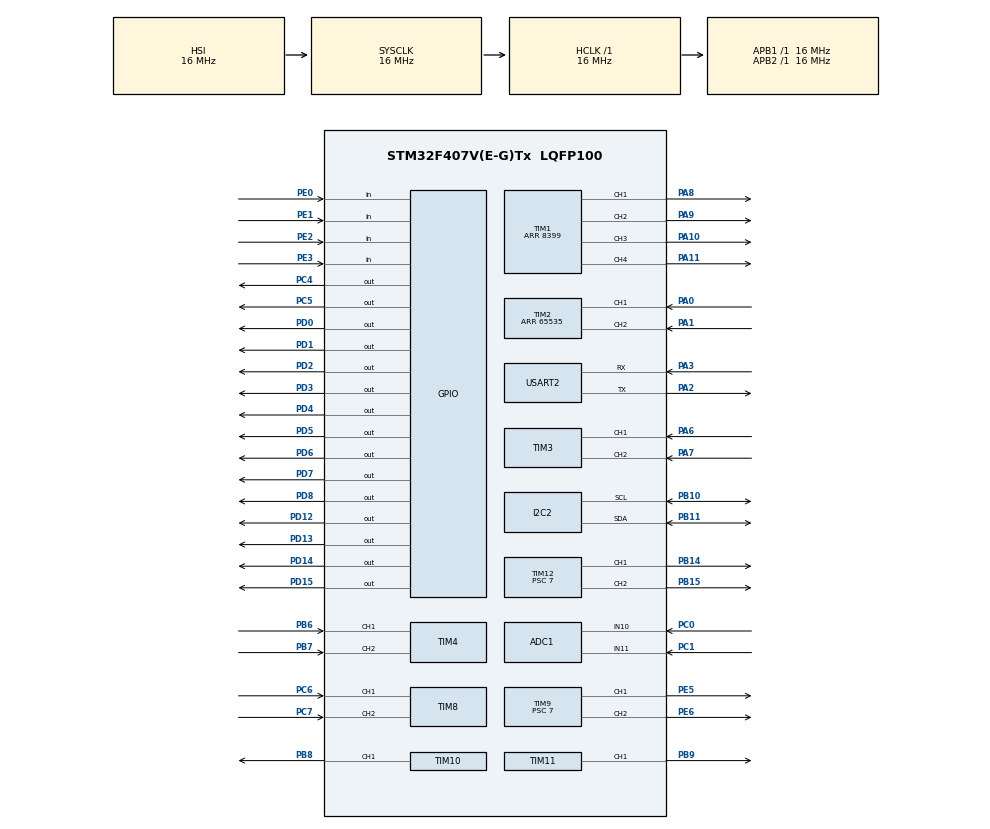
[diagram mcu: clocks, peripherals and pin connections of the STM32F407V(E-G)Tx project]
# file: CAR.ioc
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ADC1.Channel-0\#ChannelRegularConversion=ADC_CHANNEL_10
ADC1.NbrOfConversionFlag=1
ADC1.Rank-0\#ChannelRegularConversion=1
ADC1.SamplingTime-0\#ChannelRegularConversion=ADC_SAMPLETIME_3CYCLES
ADC1.master=1
Mcu.Family=STM32F4
Mcu.Name=STM32F407V(E-G)Tx
Mcu.Package=LQFP100
NVIC.PriorityGroup=NVIC_PRIORITYGROUP_4
NVIC.USART2_IRQn=true\:0\:0\:false\:false\:true\:true\:true\:true
PA0-WKUP.Signal=S_TIM2_CH1_ETR
PA1.Signal=S_TIM2_CH2
PA10.Signal=S_TIM1_CH3
PA11.Signal=S_TIM1_CH4
PA13.Mode=Serial_Wire
PA13.Signal=SYS_JTMS-SWDIO
PA14.Mode=Serial_Wire
PA14.Signal=SYS_JTCK-SWCLK
PA2.Mode=Asynchronous
PA2.Signal=USART2_TX
PA3.Mode=Asynchronous
PA3.Signal=USART2_RX
PA6.Signal=S_TIM3_CH1
PA7.Signal=S_TIM3_CH2
PA8.Signal=S_TIM1_CH1
PA9.Signal=S_TIM1_CH2
PB10.GPIO_Pu=GPIO_PULLUP
PB10.Mode=I2C
PB10.Signal=I2C2_SCL
PB11.GPIO_Pu=GPIO_PULLUP
PB11.Mode=I2C
PB11.Signal=I2C2_SDA
PB14.Signal=S_TIM12_CH1
PB15.Signal=S_TIM12_CH2
PB6.Signal=S_TIM4_CH1
PB7.Signal=S_TIM4_CH2
PB8.Signal=S_TIM10_CH1
PB9.Signal=S_TIM11_CH1
PC0.Signal=ADCx_IN10
PC1.Signal=ADCx_IN11
PC4.PinState=GPIO_PIN_SET
PC4.Signal=GPIO_Output
PC5.PinState=GPIO_PIN_SET
PC5.Signal=GPIO_Output
PC6.Signal=S_TIM8_CH1
PC7.Signal=S_TIM8_CH2
PD0.GPIO_ModeDefaultOutputPP=GPIO_MODE_OUTPUT_PP
PD0.Signal=GPIO_Output
PD1.Signal=GPIO_Output
PD12.Signal=GPIO_Output
PD13.Signal=GPIO_Output
PD14.Signal=GPIO_Output
PD15.Signal=GPIO_Output
PD2.Signal=GPIO_Output
PD3.Signal=GPIO_Output
PD4.Signal=GPIO_Output
PD5.Signal=GPIO_Output
PD6.Signal=GPIO_Output
PD7.Signal=GPIO_Output
PD8.GPIO_PuPd=GPIO_PULLUP
PD8.Signal=GPIO_Output
PE0.GPIO_PuPd=GPIO_PULLUP
PE0.Signal=GPIO_Input
PE1.GPIO_Mode=GPIO_MODE_INPUT
PE1.GPIO_PuPd=GPIO_PULLUP
PE1.Signal=GPIO_Input
PE2.GPIO_PuPd=GPIO_PULLUP
PE2.Signal=GPIO_Input
PE3.GPIO_PuPd=GPIO_PULLUP
PE3.Signal=GPIO_Input
PE5.Signal=S_TIM9_CH1
PE6.Signal=S_TIM9_CH2
PH0-OSC_IN.Mode=HSE-External-Oscillator
PH0-OSC_IN.Signal=RCC_OSC_IN
PH1-OSC_OUT.Mode=HSE-External-Oscillator
PH1-OSC_OUT.Signal=RCC_OSC_OUT
ProjectManager.HeapSize=0x200
ProjectManager.StackSize=0x400
ProjectManager.TargetToolchain=MDK-ARM V5.32
RCC.48MHZClocksFreq_Value=151200000
RCC.AHBFreq_Value=16000000
RCC.APB1Freq_Value=16000000
RCC.APB2Freq_Value=16000000
RCC.CortexFreq_Value=16000000
RCC.HSE_VALUE=25200000
RCC.HSI_VALUE=16000000
RCC.LSE_VALUE=32768
RCC.PLLM=8
RCC.PLLSourceVirtual=RCC_PLLSOURCE_HSE
RCC.SYSCLKFreq_VALUE=16000000
RCC.VCOOutputFreq_Value=604800000
SH.ADCx_IN10.0=ADC1_IN10,IN10
SH.ADCx_IN11.0=ADC1_IN11,IN11
SH.S_TIM10_CH1.0=TIM10_CH1,PWM Generation1 CH1
SH.S_TIM11_CH1.0=TIM11_CH1,PWM Generation1 CH1
SH.S_TIM12_CH1.0=TIM12_CH1,PWM Generation1 CH1
SH.S_TIM12_CH2.0=TIM12_CH2,PWM Generation2 CH2
SH.S_TIM1_CH1.0=TIM1_CH1,PWM Generation1 CH1
SH.S_TIM1_CH2.0=TIM1_CH2,PWM Generation2 CH2
SH.S_TIM1_CH3.0=TIM1_CH3,PWM Generation3 CH3
SH.S_TIM1_CH4.0=TIM1_CH4,PWM Generation4 CH4
SH.S_TIM2_CH1_ETR.0=TIM2_CH1,Encoder_Interface
SH.S_TIM2_CH2.0=TIM2_CH2,Encoder_Interface
SH.S_TIM3_CH1.0=TIM3_CH1,Encoder_Interface
SH.S_TIM3_CH2.0=TIM3_CH2,Encoder_Interface
SH.S_TIM4_CH1.0=TIM4_CH1,Encoder_Interface
SH.S_TIM4_CH2.0=TIM4_CH2,Encoder_Interface
SH.S_TIM8_CH1.0=TIM8_CH1,Encoder_Interface
SH.S_TIM8_CH2.0=TIM8_CH2,Encoder_Interface
SH.S_TIM9_CH1.0=TIM9_CH1,PWM Generation1 CH1
SH.S_TIM9_CH2.0=TIM9_CH2,PWM Generation2 CH2
TIM1.Channel-PWM\ Generation1\ CH1=TIM_CHANNEL_1
TIM1.Channel-PWM\ Generation2\ CH2=TIM_CHANNEL_2
TIM1.Channel-PWM\ Generation3\ CH3=TIM_CHANNEL_3
TIM1.Channel-PWM\ Generation4\ CH4=TIM_CHANNEL_4
TIM1.Period=8399
TIM10.Channel=TIM_CHANNEL_1
TIM10.Period=19999
TIM10.Prescaler=7
TIM10.Pulse=500
TIM11.Channel=TIM_CHANNEL_1
TIM11.Period=19999
TIM11.Prescaler=167
TIM11.Pulse=1500
TIM12.Channel-PWM\ Generation1\ CH1=TIM_CHANNEL_1
TIM12.Channel-PWM\ Generation2\ CH2=TIM_CHANNEL_2
TIM12.Period=19999
TIM12.Prescaler=7
TIM12.Pulse-PWM\ Generation1\ CH1=500
TIM12.Pulse-PWM\ Generation2\ CH2=500
TIM2.IC1Filter=6
TIM2.IC2Filter=6
TIM2.Period=65535
TIM3.IC1Filter=6
TIM3.IC2Filter=6
TIM4.IC1Filter=6
TIM4.IC2Filter=6
TIM8.IC1Filter=6
TIM8.IC2Filter=6
TIM9.Channel-PWM\ Generation1\ CH1=TIM_CHANNEL_1
TIM9.Channel-PWM\ Generation2\ CH2=TIM_CHANNEL_2
TIM9.Period=19999
TIM9.Prescaler=7
TIM9.Pulse-PWM\ Generation1\ CH1=1500
TIM9.Pulse-PWM\ Generation2\ CH2=1500
USART2.VirtualMode=VM_ASYNC
VP_TIM10_VS_ClockSourceINT.Mode=Enable_Timer
VP_TIM11_VS_ClockSourceINT.Mode=Enable_Timer
board=custom

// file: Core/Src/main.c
/* USER CODE BEGIN Header */
/**
  ******************************************************************************
  * @file           : main.c
  * @brief          : Main program body - Car/Pump/PCA9685 Servo + TIM12 Gimbal Servo Version
  ******************************************************************************
  */
/* USER CODE END Header */
#include "main.h"
#include "adc.h"
#include "i2c.h"
#include "tim.h"
#include "usart.h"
#include "gpio.h"

/* USER CODE BEGIN Includes */
#include <stdio.h>
#include <string.h>
#include <stdbool.h>
/* USER CODE END Includes */

/* USER CODE BEGIN PTD */

typedef struct
{
    int16_t pwm_cmd;          // 当前输出PWM命令（-8399~8399）
    int16_t enc_delta_10ms;   // 10ms编码器增量
    int32_t enc_total;        // 累计编码器计数
} MotorState_t;

/* USER CODE END PTD */

/* USER CODE BEGIN PD */

/* -------------------- 硬件参数 -------------------- */
#define MOTOR_PWM_MAX              8399

/* 普通前进/后退速度：原来 MOTOR_TEST_PWM=1500，对重车偏小 */
#define MOTOR_MOVE_PWM             1500

/* 转弯持续速度：车重转不动就优先调大这个值 */
#define MOTOR_TURN_PWM             3500

/* 转弯起步冲击速度：先大力冲一下，克服静摩擦 */
#define MOTOR_TURN_START_PWM       3500

/* 转弯起步冲击时间，单位 ms */
#define MOTOR_TURN_START_TIME_MS   0

/*
    舵机脉宽范围：
    500us  -> 约0°
    1500us -> 约90°
    2500us -> 约180°

    如果舵机有异响、顶死、发热，可以改成：
    SERVO_MIN_US = 700
    SERVO_MAX_US = 2300
*/
#define SERVO_MIN_US               500
#define SERVO_MID_US               1500
#define SERVO_MAX_US               2700

/* -------------------- 调试选项 -------------------- */
#define DEBUG_PRINT_ENABLE         0

/* -------------------- PCA9685 参数 -------------------- */
#define PCA9685_ADDR               (0x40 << 1)   // HAL库使用8位地址，所以0x40左移1位
#define PCA9685_MODE1              0x00
#define PCA9685_MODE2              0x01
#define PCA9685_LED0_ON_L          0x06
#define PCA9685_PRESCALE           0xFE

#define PCA9685_SERVO_FREQ         50            // 舵机PWM频率50Hz

#define PCA9685_CH_BOTTOM          0             // CH0 -> 最底下舵机
#define PCA9685_CH_MIDDLE          1             // CH1 -> 中间舵机
#define PCA9685_CH_TOP             2             // CH2 -> 最上面舵机

/* -------------------- 引脚映射 -------------------- */
/* 电机方向控制 */
#define M1_IN1_GPIO_Port           GPIOD
#define M1_IN1_Pin                 GPIO_PIN_0
#define M1_IN2_GPIO_Port           GPIOD
#define M1_IN2_Pin                 GPIO_PIN_1

#define M2_IN1_GPIO_Port           GPIOD
#define M2_IN1_Pin                 GPIO_PIN_2
#define M2_IN2_GPIO_Port           GPIOD
#define M2_IN2_Pin                 GPIO_PIN_3

#define M3_IN1_GPIO_Port           GPIOD
#define M3_IN1_Pin                 GPIO_PIN_4
#define M3_IN2_GPIO_Port           GPIOD
#define M3_IN2_Pin                 GPIO_PIN_5

#define M4_IN1_GPIO_Port           GPIOD
#define M4_IN1_Pin                 GPIO_PIN_6
#define M4_IN2_GPIO_Port           GPIOD
#define M4_IN2_Pin                 GPIO_PIN_7

#define MOTOR_EN_GPIO_Port         GPIOD
#define MOTOR_EN_Pin               GPIO_PIN_8

/* 两个水泵 */
#define PUMP1_GPIO_Port            GPIOC
#define PUMP1_Pin                  GPIO_PIN_4
#define PUMP2_GPIO_Port            GPIOC
#define PUMP2_Pin                  GPIO_PIN_5

/*
    你的继电器/驱动模块有 NO、NC、COM、VCC、GND、IN。
    多数这种模块是低电平触发：IN=0 吸合，IN=1 断开。
    如果你测试发现水泵逻辑反了，把对应的 1 改成 0。
*/
#define PUMP1_ACTIVE_LOW           0
#define PUMP2_ACTIVE_LOW           0

/* 状态灯/蜂鸣器 */
#define RUN_LED_GPIO_Port          GPIOD
#define RUN_LED_Pin                GPIO_PIN_12
#define FAULT_LED_GPIO_Port        GPIOD
#define FAULT_LED_Pin              GPIO_PIN_13
#define BEEP_GPIO_Port             GPIOD
#define BEEP_Pin                   GPIO_PIN_14
#define COMM_LED_GPIO_Port         GPIOD
#define COMM_LED_Pin               GPIO_PIN_15

/* 输入 */
#define ESTOP_GPIO_Port            GPIOE
#define ESTOP_Pin                  GPIO_PIN_0
#define LEVEL_GPIO_Port            GPIOE
#define LEVEL_Pin                  GPIO_PIN_1
#define LIMIT1_GPIO_Port           GPIOE
#define LIMIT1_Pin                 GPIO_PIN_2
#define LIMIT2_GPIO_Port           GPIOE
#define LIMIT2_Pin                 GPIO_PIN_3

/* 三个舵机编号：PCA9685 三路舵机，保持你原来的 L/R/Z 动作 */
#define SERVO_BOTTOM_ID            1
#define SERVO_MIDDLE_ID            2
#define SERVO_TOP_ID               3

/*
    新增：摄像头二自由度云台舵机
    PB14 -> TIM12_CH1 -> 云台水平 Yaw 舵机
    PB15 -> TIM12_CH2 -> 云台俯仰 Pitch 舵机

    注意：
    1. CubeMX 中 PB14 配 TIM12_CH1，PB15 配 TIM12_CH2。
    2. TIM12 要配置成 50Hz PWM，最好 1us 计数。
       如果当前系统时钟仍是 HSI 16MHz：
          Prescaler = 15
          Counter Period = 19999
          Pulse = 1500
       如果你的工程是 84MHz 定时器时钟：
          Prescaler = 83
          Counter Period = 19999
          Pulse = 1500
    3. 舵机外接 5V 供电，外部 5V GND 必须和 STM32 GND 共地。
*/
#define GIMBAL_YAW_LEFT_ANGLE      45
#define GIMBAL_YAW_CENTER_ANGLE    90
#define GIMBAL_YAW_RIGHT_ANGLE     135

#define GIMBAL_PITCH_UP_ANGLE      110
#define GIMBAL_PITCH_DEFAULT_ANGLE 80
#define GIMBAL_PITCH_DOWN_ANGLE    55

#define GIMBAL_MIN_US              500
#define GIMBAL_MAX_US              2500

/* USER CODE END PD */

/* USER CODE BEGIN PM */
#define CLAMP(x, low, high)   ((x) < (low) ? (low) : ((x) > (high) ? (high) : (x)))
/* USER CODE END PM */

/* USER CODE BEGIN PV */

static uint8_t uart2_rx_byte = 0;
static volatile uint8_t g_uart_cmd_pending = 0;

static char uart_tx_buf[360];

static MotorState_t g_motor[4];

static int16_t  enc_last_raw[4] = {0};

/*
    现在只使用 3 个舵机：
    g_servo_us[0] -> 最底下舵机，PCA9685_CH0
    g_servo_us[1] -> 中间舵机，  PCA9685_CH1
    g_servo_us[2] -> 最上面舵机，PCA9685_CH2
*/
static uint16_t g_servo_us[3] = {
    SERVO_MIN_US,
    SERVO_MIN_US,
    SERVO_MIN_US
};

/*
    新增云台舵机当前脉宽记录：
    g_gimbal_yaw_us   -> PB14 / TIM12_CH1
    g_gimbal_pitch_us -> PB15 / TIM12_CH2
*/
static uint16_t g_gimbal_yaw_us   = SERVO_MID_US;
static uint16_t g_gimbal_pitch_us = SERVO_MID_US;

static uint8_t  g_pump1_on      = 0;
static uint8_t  g_pump2_on      = 0;
static uint8_t  g_estop_latched = 0;
static uint8_t  g_fault_flag    = 0;

/* USER CODE END PV */

void SystemClock_Config(void);
/* USER CODE BEGIN PFP */

static void User_SetSafeState(void);
static void User_StartPeripherals(void);
static void User_Beep(uint16_t ms);

static void App_Init(void);
static void App_Loop(void);

static void User_SendText(const char *str);
static void User_SendHelp(void);
static void User_SendStatus(void);
static void User_HandleUartByte(uint8_t ch);

static void Motor_Enable(uint8_t en);
static void Motor_SetPWM(uint8_t motor_id, int16_t pwm);
static void Motor_StopAll(void);

static void Car_Forward(void);
static void Car_Backward(void);
static void Car_TurnLeft(void);
static void Car_TurnRight(void);

static void PCA9685_Write8(uint8_t reg, uint8_t data);
static uint8_t PCA9685_Read8(uint8_t reg);
static uint8_t PCA9685_IsReady(void);
static void PCA9685_SetPWMFreq(uint16_t freq_hz);
static void PCA9685_SetPWM(uint8_t channel, uint16_t on, uint16_t off);
static void PCA9685_SetServoUs(uint8_t channel, uint16_t pulse_us);
static void PCA9685_Init(void);

static uint16_t Servo_AngleToUs(uint8_t angle);
static void Servo_SetUs(uint8_t servo_id, uint16_t pulse_us);
static void Servo_SetAngle(uint8_t servo_id, uint8_t angle);
static void Servo_InitPose(void);
static void Servo_ActionLeft(void);
static void Servo_ActionRight(void);
static void Servo_Reset(void);

static uint16_t Gimbal_AngleToUs(uint8_t angle);
static void Gimbal_SetYawUs(uint16_t pulse_us);
static void Gimbal_SetPitchUs(uint16_t pulse_us);
static void Gimbal_SetYawAngle(uint8_t angle);
static void Gimbal_SetPitchAngle(uint8_t angle);
static void Gimbal_InitPose(void);
static void Gimbal_LookLeft(void);
static void Gimbal_LookRight(void);
static void Gimbal_LookCenter(void);
static void Gimbal_PitchUp(void);
static void Gimbal_PitchDown(void);
static void Gimbal_PitchDefault(void);

static void Pump_GPIO_Init(void);
static void Pump1_On(void);
static void Pump1_Off(void);
static void Pump2_On(void);
static void Pump2_Off(void);

static int16_t Encoder_ReadRaw16(TIM_HandleTypeDef *htim);
static int16_t Encoder_ReadDelta(TIM_HandleTypeDef *htim, int16_t *last_raw);
static void Encoder_Update10ms(void);

static void Safety_Check(void);

/* USER CODE END PFP */

/* USER CODE BEGIN 0 */

static void User_SendText(const char *str)
{
    HAL_UART_Transmit(&huart2, (uint8_t *)str, strlen(str), 100);
}

static void User_Beep(uint16_t ms)
{
    HAL_GPIO_WritePin(BEEP_GPIO_Port, BEEP_Pin, GPIO_PIN_SET);
    HAL_Delay(ms);
    HAL_GPIO_WritePin(BEEP_GPIO_Port, BEEP_Pin, GPIO_PIN_RESET);
}

static void User_SetSafeState(void)
{
    HAL_GPIO_WritePin(M1_IN1_GPIO_Port, M1_IN1_Pin, GPIO_PIN_RESET);
    HAL_GPIO_WritePin(M1_IN2_GPIO_Port, M1_IN2_Pin, GPIO_PIN_RESET);
    HAL_GPIO_WritePin(M2_IN1_GPIO_Port, M2_IN1_Pin, GPIO_PIN_RESET);
    HAL_GPIO_WritePin(M2_IN2_GPIO_Port, M2_IN2_Pin, GPIO_PIN_RESET);
    HAL_GPIO_WritePin(M3_IN1_GPIO_Port, M3_IN1_Pin, GPIO_PIN_RESET);
    HAL_GPIO_WritePin(M3_IN2_GPIO_Port, M3_IN2_Pin, GPIO_PIN_RESET);
    HAL_GPIO_WritePin(M4_IN1_GPIO_Port, M4_IN1_Pin, GPIO_PIN_RESET);
    HAL_GPIO_WritePin(M4_IN2_GPIO_Port, M4_IN2_Pin, GPIO_PIN_RESET);

    /* 两个水泵安全关闭：兼容低电平触发/高电平触发模块 */
#if PUMP1_ACTIVE_LOW
    HAL_GPIO_WritePin(PUMP1_GPIO_Port, PUMP1_Pin, GPIO_PIN_SET);
#else
    HAL_GPIO_WritePin(PUMP1_GPIO_Port, PUMP1_Pin, GPIO_PIN_RESET);
#endif

#if PUMP2_ACTIVE_LOW
    HAL_GPIO_WritePin(PUMP2_GPIO_Port, PUMP2_Pin, GPIO_PIN_SET);
#else
    HAL_GPIO_WritePin(PUMP2_GPIO_Port, PUMP2_Pin, GPIO_PIN_RESET);
#endif

    g_pump1_on = 0;
    g_pump2_on = 0;

    HAL_GPIO_WritePin(RUN_LED_GPIO_Port, RUN_LED_Pin, GPIO_PIN_RESET);
    HAL_GPIO_WritePin(FAULT_LED_GPIO_Port, FAULT_LED_Pin, GPIO_PIN_RESET);
    HAL_GPIO_WritePin(BEEP_GPIO_Port, BEEP_Pin, GPIO_PIN_RESET);
    HAL_GPIO_WritePin(COMM_LED_GPIO_Port, COMM_LED_Pin, GPIO_PIN_RESET);

    HAL_GPIO_WritePin(MOTOR_EN_GPIO_Port, MOTOR_EN_Pin, GPIO_PIN_RESET);

    __HAL_TIM_SET_COMPARE(&htim1, TIM_CHANNEL_1, 0);
    __HAL_TIM_SET_COMPARE(&htim1, TIM_CHANNEL_2, 0);
    __HAL_TIM_SET_COMPARE(&htim1, TIM_CHANNEL_3, 0);
    __HAL_TIM_SET_COMPARE(&htim1, TIM_CHANNEL_4, 0);

    /* 新增 TIM12 云台舵机先关闭输出，启动外设后再给默认角度 */
    __HAL_TIM_SET_COMPARE(&htim12, TIM_CHANNEL_1, 0);
    __HAL_TIM_SET_COMPARE(&htim12, TIM_CHANNEL_2, 0);
}

static void User_StartPeripherals(void)
{
    HAL_TIM_PWM_Start(&htim1, TIM_CHANNEL_1);
    HAL_TIM_PWM_Start(&htim1, TIM_CHANNEL_2);
    HAL_TIM_PWM_Start(&htim1, TIM_CHANNEL_3);
    HAL_TIM_PWM_Start(&htim1, TIM_CHANNEL_4);

    /*
        新增两个摄像头云台舵机：
        PB14 -> TIM12_CH1 -> Yaw 水平舵机
        PB15 -> TIM12_CH2 -> Pitch 俯仰舵机
    */
    HAL_TIM_PWM_Start(&htim12, TIM_CHANNEL_1);
    HAL_TIM_PWM_Start(&htim12, TIM_CHANNEL_2);

    /*
        现在原来的三个执行机构舵机使用 PCA9685 控制，
        TIM12 只负责新增的摄像头云台两个舵机。
    */

    HAL_TIM_Encoder_Start(&htim2, TIM_CHANNEL_ALL);
    HAL_TIM_Encoder_Start(&htim3, TIM_CHANNEL_ALL);
    HAL_TIM_Encoder_Start(&htim4, TIM_CHANNEL_ALL);
    HAL_TIM_Encoder_Start(&htim8, TIM_CHANNEL_ALL);

    __HAL_TIM_SET_COUNTER(&htim2, 0);
    __HAL_TIM_SET_COUNTER(&htim3, 0);
    __HAL_TIM_SET_COUNTER(&htim4, 0);
    __HAL_TIM_SET_COUNTER(&htim8, 0);

    enc_last_raw[0] = 0;
    enc_last_raw[1] = 0;
    enc_last_raw[2] = 0;
    enc_last_raw[3] = 0;

    /*
        初始化 PCA9685：
        STM32F407VET6 使用 I2C2：
        PB10 -> SCL
        PB11 -> SDA
    */
    PCA9685_Init();

    /*
        上电初始角度：
        1. 原来的三个 PCA9685 舵机复位
        2. 新增摄像头云台回中、默认俯仰
    */
    Servo_InitPose();
    Gimbal_InitPose();

    HAL_UART_Receive_IT(&huart2, &uart2_rx_byte, 1);

    Motor_Enable(1);
}

/* -------------------- PCA9685 驱动部分 -------------------- */

static void PCA9685_Write8(uint8_t reg, uint8_t data)
{
    HAL_I2C_Mem_Write(&hi2c2,
                      PCA9685_ADDR,
                      reg,
                      I2C_MEMADD_SIZE_8BIT,
                      &data,
                      1,
                      100);
}

static uint8_t PCA9685_Read8(uint8_t reg)
{
    uint8_t data = 0;

    HAL_I2C_Mem_Read(&hi2c2,
                     PCA9685_ADDR,
                     reg,
                     I2C_MEMADD_SIZE_8BIT,
                     &data,
                     1,
                     100);

    return data;
}

static uint8_t PCA9685_IsReady(void)
{
    if (HAL_I2C_IsDeviceReady(&hi2c2, PCA9685_ADDR, 3, 100) == HAL_OK)
    {
        return 1;
    }
    else
    {
        return 0;
    }
}

static void PCA9685_SetPWMFreq(uint16_t freq_hz)
{
    uint8_t oldmode;
    uint8_t newmode;
    uint8_t prescale;

    /*
        PCA9685内部时钟约25MHz。
        prescale = 25000000 / (4096 * freq) - 1
        50Hz时 prescale 约等于121。
    */
    prescale = (uint8_t)(25000000UL / (4096UL * freq_hz) - 1);

    oldmode = PCA9685_Read8(PCA9685_MODE1);
    newmode = (oldmode & 0x7F) | 0x10;       // sleep

    PCA9685_Write8(PCA9685_MODE1, newmode);
    PCA9685_Write8(PCA9685_PRESCALE, prescale);
    PCA9685_Write8(PCA9685_MODE1, oldmode);

    HAL_Delay(5);

    PCA9685_Write8(PCA9685_MODE1, oldmode | 0xA0);  // restart + auto increment
}

static void PCA9685_SetPWM(uint8_t channel, uint16_t on, uint16_t off)
{
    uint8_t data[4];

    if (channel > 15)
    {
        return;
    }

    data[0] = on & 0xFF;
    data[1] = on >> 8;
    data[2] = off & 0xFF;
    data[3] = off >> 8;

    HAL_I2C_Mem_Write(&hi2c2,
                      PCA9685_ADDR,
                      PCA9685_LED0_ON_L + 4 * channel,
                      I2C_MEMADD_SIZE_8BIT,
                      data,
                      4,
                      100);
}

static void PCA9685_SetServoUs(uint8_t channel, uint16_t pulse_us)
{
    uint16_t tick;

    pulse_us = (uint16_t)CLAMP(pulse_us, SERVO_MIN_US, SERVO_MAX_US);

    /*
        50Hz周期 = 20ms = 20000us
        PCA9685一周期分成4096份
        tick = pulse_us * 4096 / 20000
    */
    tick = (uint16_t)((uint32_t)pulse_us * 4096UL / 20000UL);

    PCA9685_SetPWM(channel, 0, tick);
}

static void PCA9685_Init(void)
{
    HAL_Delay(20);

    if (!PCA9685_IsReady())
    {
        User_SendText("\r\nERROR: PCA9685 not found on I2C2. Check PB10/PB11/VCC/GND/OE.\r\n");
        g_fault_flag = 1;
        HAL_GPIO_WritePin(FAULT_LED_GPIO_Port, FAULT_LED_Pin, GPIO_PIN_SET);
        return;
    }

    PCA9685_Write8(PCA9685_MODE1, 0x00);
    PCA9685_Write8(PCA9685_MODE2, 0x04);     // 输出推挽模式

    PCA9685_SetPWMFreq(PCA9685_SERVO_FREQ);

    HAL_Delay(20);

    User_SendText("\r\nPCA9685 init OK.\r\n");
}

/* -------------------- 电机控制部分 -------------------- */

static void Motor_Enable(uint8_t en)
{
    HAL_GPIO_WritePin(MOTOR_EN_GPIO_Port, MOTOR_EN_Pin, en ? GPIO_PIN_SET : GPIO_PIN_RESET);
}

static void Motor_SetPWM(uint8_t motor_id, int16_t pwm)
{
    uint16_t compare = 0;

    pwm = CLAMP(pwm, -MOTOR_PWM_MAX, MOTOR_PWM_MAX);
    compare = (uint16_t)((pwm >= 0) ? pwm : -pwm);

    switch (motor_id)
    {
        case 1:
            if (pwm > 0)
            {
                HAL_GPIO_WritePin(M1_IN1_GPIO_Port, M1_IN1_Pin, GPIO_PIN_RESET);
                HAL_GPIO_WritePin(M1_IN2_GPIO_Port, M1_IN2_Pin, GPIO_PIN_SET);
            }
            else if (pwm < 0)
            {
                HAL_GPIO_WritePin(M1_IN1_GPIO_Port, M1_IN1_Pin, GPIO_PIN_SET);
                HAL_GPIO_WritePin(M1_IN2_GPIO_Port, M1_IN2_Pin, GPIO_PIN_RESET);
            }
            else
            {
                HAL_GPIO_WritePin(M1_IN1_GPIO_Port, M1_IN1_Pin, GPIO_PIN_RESET);
                HAL_GPIO_WritePin(M1_IN2_GPIO_Port, M1_IN2_Pin, GPIO_PIN_RESET);
            }

            __HAL_TIM_SET_COMPARE(&htim1, TIM_CHANNEL_1, compare);
            g_motor[0].pwm_cmd = pwm;
            break;

        case 2:
            if (pwm > 0)
            {
                HAL_GPIO_WritePin(M2_IN1_GPIO_Port, M2_IN1_Pin, GPIO_PIN_SET);
                HAL_GPIO_WritePin(M2_IN2_GPIO_Port, M2_IN2_Pin, GPIO_PIN_RESET);
            }
            else if (pwm < 0)
            {
                HAL_GPIO_WritePin(M2_IN1_GPIO_Port, M2_IN1_Pin, GPIO_PIN_RESET);
                HAL_GPIO_WritePin(M2_IN2_GPIO_Port, M2_IN2_Pin, GPIO_PIN_SET);
            }
            else
            {
                HAL_GPIO_WritePin(M2_IN1_GPIO_Port, M2_IN1_Pin, GPIO_PIN_RESET);
                HAL_GPIO_WritePin(M2_IN2_GPIO_Port, M2_IN2_Pin, GPIO_PIN_RESET);
            }

            __HAL_TIM_SET_COMPARE(&htim1, TIM_CHANNEL_2, compare);
            g_motor[1].pwm_cmd = pwm;
            break;

        case 3:
            if (pwm > 0)
            {
                HAL_GPIO_WritePin(M3_IN1_GPIO_Port, M3_IN1_Pin, GPIO_PIN_SET);
                HAL_GPIO_WritePin(M3_IN2_GPIO_Port, M3_IN2_Pin, GPIO_PIN_RESET);
            }
            else if (pwm < 0)
            {
                HAL_GPIO_WritePin(M3_IN1_GPIO_Port, M3_IN1_Pin, GPIO_PIN_RESET);
                HAL_GPIO_WritePin(M3_IN2_GPIO_Port, M3_IN2_Pin, GPIO_PIN_SET);
            }
            else
            {
                HAL_GPIO_WritePin(M3_IN1_GPIO_Port, M3_IN1_Pin, GPIO_PIN_RESET);
                HAL_GPIO_WritePin(M3_IN2_GPIO_Port, M3_IN2_Pin, GPIO_PIN_RESET);
            }

            __HAL_TIM_SET_COMPARE(&htim1, TIM_CHANNEL_3, compare);
            g_motor[2].pwm_cmd = pwm;
            break;

        case 4:
            if (pwm > 0)
            {
                HAL_GPIO_WritePin(M4_IN1_GPIO_Port, M4_IN1_Pin, GPIO_PIN_RESET);
                HAL_GPIO_WritePin(M4_IN2_GPIO_Port, M4_IN2_Pin, GPIO_PIN_SET);
            }
            else if (pwm < 0)
            {
                HAL_GPIO_WritePin(M4_IN1_GPIO_Port, M4_IN1_Pin, GPIO_PIN_SET);
                HAL_GPIO_WritePin(M4_IN2_GPIO_Port, M4_IN2_Pin, GPIO_PIN_RESET);
            }
            else
            {
                HAL_GPIO_WritePin(M4_IN1_GPIO_Port, M4_IN1_Pin, GPIO_PIN_RESET);
                HAL_GPIO_WritePin(M4_IN2_GPIO_Port, M4_IN2_Pin, GPIO_PIN_RESET);
            }

            __HAL_TIM_SET_COMPARE(&htim1, TIM_CHANNEL_4, compare);
            g_motor[3].pwm_cmd = pwm;
            break;

        default:
            break;
    }
}

static void Motor_StopAll(void)
{
    Motor_SetPWM(1, 0);
    Motor_SetPWM(2, 0);
    Motor_SetPWM(3, 0);
    Motor_SetPWM(4, 0);
}

static void Car_Forward(void)
{
    Motor_Enable(1);

    Motor_SetPWM(1,  MOTOR_MOVE_PWM);
    Motor_SetPWM(2,  MOTOR_MOVE_PWM);
    Motor_SetPWM(3,  MOTOR_MOVE_PWM);
    Motor_SetPWM(4,  MOTOR_MOVE_PWM);
}

static void Car_Backward(void)
{
    Motor_Enable(1);

    Motor_SetPWM(1, -MOTOR_MOVE_PWM);
    Motor_SetPWM(2, -MOTOR_MOVE_PWM);
    Motor_SetPWM(3, -MOTOR_MOVE_PWM);
    Motor_SetPWM(4, -MOTOR_MOVE_PWM);
}

static void Car_TurnLeft(void)
{
    Motor_Enable(1);

    /*
        左转：
        左侧 M1/M2 后退，右侧 M3/M4 前进。
        小车太重时，先用较大 PWM 冲击一小段时间，
        再降到持续转弯 PWM。
    */
    Motor_SetPWM(1, -MOTOR_TURN_START_PWM);
    Motor_SetPWM(2, -MOTOR_TURN_START_PWM);
    Motor_SetPWM(3,  MOTOR_TURN_START_PWM);
    Motor_SetPWM(4,  MOTOR_TURN_START_PWM);

    HAL_Delay(MOTOR_TURN_START_TIME_MS);

    Motor_SetPWM(1, -MOTOR_TURN_PWM);
    Motor_SetPWM(2, -MOTOR_TURN_PWM);
    Motor_SetPWM(3,  MOTOR_TURN_PWM);
    Motor_SetPWM(4,  MOTOR_TURN_PWM);
}

static void Car_TurnRight(void)
{
    Motor_Enable(1);

    /*
        右转：
        左侧 M1/M2 前进，右侧 M3/M4 后退。
        小车太重时，先用较大 PWM 冲击一小段时间，
        再降到持续转弯 PWM。
    */
    Motor_SetPWM(1,  MOTOR_TURN_START_PWM);
    Motor_SetPWM(2,  MOTOR_TURN_START_PWM);
    Motor_SetPWM(3, -MOTOR_TURN_START_PWM);
    Motor_SetPWM(4, -MOTOR_TURN_START_PWM);

    HAL_Delay(MOTOR_TURN_START_TIME_MS);

    Motor_SetPWM(1,  MOTOR_TURN_PWM);
    Motor_SetPWM(2,  MOTOR_TURN_PWM);
    Motor_SetPWM(3, -MOTOR_TURN_PWM);
    Motor_SetPWM(4, -MOTOR_TURN_PWM);
}

/* -------------------- 舵机控制部分：PCA9685 -------------------- */

static uint16_t Servo_AngleToUs(uint8_t angle)
{
    if (angle > 180)
    {
        angle = 180;
    }

    return SERVO_MIN_US + (uint16_t)((uint32_t)angle * (SERVO_MAX_US - SERVO_MIN_US) / 180);
}

static void Servo_SetUs(uint8_t servo_id, uint16_t pulse_us)
{
    pulse_us = (uint16_t)CLAMP(pulse_us, SERVO_MIN_US, SERVO_MAX_US);

    switch (servo_id)
    {
        case SERVO_BOTTOM_ID:
            PCA9685_SetServoUs(PCA9685_CH_BOTTOM, pulse_us);
            g_servo_us[0] = pulse_us;
            break;

        case SERVO_MIDDLE_ID:
            PCA9685_SetServoUs(PCA9685_CH_MIDDLE, pulse_us);
            g_servo_us[1] = pulse_us;
            break;

        case SERVO_TOP_ID:
            PCA9685_SetServoUs(PCA9685_CH_TOP, pulse_us);
            g_servo_us[2] = pulse_us;
            break;

        default:
            break;
    }
}

static void Servo_SetAngle(uint8_t servo_id, uint8_t angle)
{
    Servo_SetUs(servo_id, Servo_AngleToUs(angle));
}

static void Servo_InitPose(void)
{
    Servo_SetAngle(SERVO_BOTTOM_ID, 120);
    HAL_Delay(200);

    Servo_SetAngle(SERVO_MIDDLE_ID, 120);
    HAL_Delay(200);

    Servo_SetAngle(SERVO_TOP_ID, 180);
    HAL_Delay(200);

    User_SendText("\r\nServo init pose: bottom=120, middle=90, top=180\r\n");
}

static void Servo_Reset(void)
{
    Servo_InitPose();
    User_SendText("\r\nCMD Z OK: servo reset\r\n");
}

/*
    串口发送 L：
    最底下舵机 -> 90°
    中间舵机   -> 60°
    最上面舵机 -> 90°
*/
static void Servo_ActionLeft(void)
{
    Servo_SetAngle(SERVO_BOTTOM_ID, 180);
    HAL_Delay(300);

    Servo_SetAngle(SERVO_MIDDLE_ID, 60);
    HAL_Delay(300);

    Servo_SetAngle(SERVO_TOP_ID, 180);

    User_SendText("\r\nCMD L OK: bottom=90, middle=120, top=90\r\n");
}

/*
    串口发送 R：
    最底下舵机 -> 50°
    中间舵机   -> 110°
    最上面舵机 -> 170°
*/
static void Servo_ActionRight(void)
{
    Servo_SetAngle(SERVO_BOTTOM_ID, 0);
    HAL_Delay(300);

    Servo_SetAngle(SERVO_MIDDLE_ID, 60);
    HAL_Delay(300);

    Servo_SetAngle(SERVO_TOP_ID, 180);

    User_SendText("\r\nCMD R OK: bottom=50, middle=110, top=170\r\n");
}

/* -------------------- 新增：摄像头二自由度云台控制：TIM12 -------------------- */

static uint16_t Gimbal_AngleToUs(uint8_t angle)
{
    if (angle > 180)
    {
        angle = 180;
    }

    return GIMBAL_MIN_US + (uint16_t)((uint32_t)angle * (GIMBAL_MAX_US - GIMBAL_MIN_US) / 180);
}

static void Gimbal_SetYawUs(uint16_t pulse_us)
{
    pulse_us = (uint16_t)CLAMP(pulse_us, GIMBAL_MIN_US, GIMBAL_MAX_US);
    __HAL_TIM_SET_COMPARE(&htim12, TIM_CHANNEL_1, pulse_us);
    g_gimbal_yaw_us = pulse_us;
}

static void Gimbal_SetPitchUs(uint16_t pulse_us)
{
    pulse_us = (uint16_t)CLAMP(pulse_us, GIMBAL_MIN_US, GIMBAL_MAX_US);
    __HAL_TIM_SET_COMPARE(&htim12, TIM_CHANNEL_2, pulse_us);
    g_gimbal_pitch_us = pulse_us;
}

static void Gimbal_SetYawAngle(uint8_t angle)
{
    Gimbal_SetYawUs(Gimbal_AngleToUs(angle));
}

static void Gimbal_SetPitchAngle(uint8_t angle)
{
    Gimbal_SetPitchUs(Gimbal_AngleToUs(angle));
}

static void Gimbal_InitPose(void)
{
    Gimbal_SetYawAngle(GIMBAL_YAW_CENTER_ANGLE);
    HAL_Delay(200);

    Gimbal_SetPitchAngle(GIMBAL_PITCH_DEFAULT_ANGLE);
    HAL_Delay(200);

    User_SendText("\r\nGimbal init pose: yaw=center, pitch=default\r\n");
}

/*
    新增串口命令：
    a/A : 摄像头云台看左边
    d/D : 摄像头云台看右边
    c/C : 摄像头云台回中
    w/W : 摄像头抬头
    s/S : 摄像头低头
    v/V : 摄像头默认俯仰
*/
static void Gimbal_LookLeft(void)
{
    Gimbal_SetYawAngle(GIMBAL_YAW_LEFT_ANGLE);
    User_SendText("\r\nCMD a OK: gimbal yaw left\r\n");
}

static void Gimbal_LookRight(void)
{
    Gimbal_SetYawAngle(GIMBAL_YAW_RIGHT_ANGLE);
    User_SendText("\r\nCMD d OK: gimbal yaw right\r\n");
}

static void Gimbal_LookCenter(void)
{
    Gimbal_SetYawAngle(GIMBAL_YAW_CENTER_ANGLE);
    User_SendText("\r\nCMD c OK: gimbal yaw center\r\n");
}

static void Gimbal_PitchUp(void)
{
    Gimbal_SetPitchAngle(GIMBAL_PITCH_UP_ANGLE);
    User_SendText("\r\nCMD w OK: gimbal pitch up\r\n");
}

static void Gimbal_PitchDown(void)
{
    Gimbal_SetPitchAngle(GIMBAL_PITCH_DOWN_ANGLE);
    User_SendText("\r\nCMD s OK: gimbal pitch down\r\n");
}

static void Gimbal_PitchDefault(void)
{
    Gimbal_SetPitchAngle(GIMBAL_PITCH_DEFAULT_ANGLE);
    User_SendText("\r\nCMD v OK: gimbal pitch default\r\n");
}

/* -------------------- 两个水泵控制 -------------------- */

/*
    两个水泵 GPIO 二次初始化：
    作用：即使 CubeMX 忘记把 PC4/PC5 配成输出，这里也能保证可用。

    当前定义：
        PUMP1 -> PC4
        PUMP2 -> PC5

    继电器推荐接法：
        STM32 GPIO -> 继电器 IN
        继电器 VCC -> 5V
        继电器 GND -> STM32 GND
        水泵电源正极 -> COM
        NO -> 水泵正极
        水泵负极 -> 电源负极

    NC 不接。使用 NO 可以保证上电默认不喷水。
*/
static void Pump_GPIO_Init(void)
{
    GPIO_InitTypeDef GPIO_InitStruct = {0};

    __HAL_RCC_GPIOC_CLK_ENABLE();

    /* 先输出“关闭”电平，防止初始化瞬间水泵误动作 */
#if PUMP1_ACTIVE_LOW
    HAL_GPIO_WritePin(PUMP1_GPIO_Port, PUMP1_Pin, GPIO_PIN_SET);
#else
    HAL_GPIO_WritePin(PUMP1_GPIO_Port, PUMP1_Pin, GPIO_PIN_RESET);
#endif

#if PUMP2_ACTIVE_LOW
    HAL_GPIO_WritePin(PUMP2_GPIO_Port, PUMP2_Pin, GPIO_PIN_SET);
#else
    HAL_GPIO_WritePin(PUMP2_GPIO_Port, PUMP2_Pin, GPIO_PIN_RESET);
#endif

    GPIO_InitStruct.Pin = PUMP1_Pin | PUMP2_Pin;
    GPIO_InitStruct.Mode = GPIO_MODE_OUTPUT_PP;
    GPIO_InitStruct.Pull = GPIO_NOPULL;
    GPIO_InitStruct.Speed = GPIO_SPEED_FREQ_LOW;
    HAL_GPIO_Init(GPIOC, &GPIO_InitStruct);

    g_pump1_on = 0;
    g_pump2_on = 0;
}

static void Pump1_On(void)
{
#if PUMP1_ACTIVE_LOW
    HAL_GPIO_WritePin(PUMP1_GPIO_Port, PUMP1_Pin, GPIO_PIN_RESET);
#else
    HAL_GPIO_WritePin(PUMP1_GPIO_Port, PUMP1_Pin, GPIO_PIN_SET);
#endif

    g_pump1_on = 1;
}

static void Pump1_Off(void)
{
#if PUMP1_ACTIVE_LOW
    HAL_GPIO_WritePin(PUMP1_GPIO_Port, PUMP1_Pin, GPIO_PIN_SET);
#else
    HAL_GPIO_WritePin(PUMP1_GPIO_Port, PUMP1_Pin, GPIO_PIN_RESET);
#endif

    g_pump1_on = 0;
}

static void Pump2_On(void)
{
#if PUMP2_ACTIVE_LOW
    HAL_GPIO_WritePin(PUMP2_GPIO_Port, PUMP2_Pin, GPIO_PIN_RESET);
#else
    HAL_GPIO_WritePin(PUMP2_GPIO_Port, PUMP2_Pin, GPIO_PIN_SET);
#endif

    g_pump2_on = 1;
}

static void Pump2_Off(void)
{
#if PUMP2_ACTIVE_LOW
    HAL_GPIO_WritePin(PUMP2_GPIO_Port, PUMP2_Pin, GPIO_PIN_SET);
#else
    HAL_GPIO_WritePin(PUMP2_GPIO_Port, PUMP2_Pin, GPIO_PIN_RESET);
#endif

    g_pump2_on = 0;
}

/* -------------------- 编码器 -------------------- */

static int16_t Encoder_ReadRaw16(TIM_HandleTypeDef *htim)
{
    return (int16_t)__HAL_TIM_GET_COUNTER(htim);
}

static int16_t Encoder_ReadDelta(TIM_HandleTypeDef *htim, int16_t *last_raw)
{
    int16_t now = Encoder_ReadRaw16(htim);
    int16_t delta = (int16_t)(now - *last_raw);
    *last_raw = now;
    return delta;
}

static void Encoder_Update10ms(void)
{
    g_motor[0].enc_delta_10ms = Encoder_ReadDelta(&htim2, &enc_last_raw[0]);
    g_motor[1].enc_delta_10ms = Encoder_ReadDelta(&htim3, &enc_last_raw[1]);
    g_motor[2].enc_delta_10ms = Encoder_ReadDelta(&htim4, &enc_last_raw[2]);
    g_motor[3].enc_delta_10ms = Encoder_ReadDelta(&htim8, &enc_last_raw[3]);

    g_motor[0].enc_total += g_motor[0].enc_delta_10ms;
    g_motor[1].enc_total += g_motor[1].enc_delta_10ms;
    g_motor[2].enc_total += g_motor[2].enc_delta_10ms;
    g_motor[3].enc_total += g_motor[3].enc_delta_10ms;
}

/* -------------------- 安全保护 -------------------- */

static void Safety_Check(void)
{
    if (HAL_GPIO_ReadPin(ESTOP_GPIO_Port, ESTOP_Pin) == GPIO_PIN_RESET)
    {
        g_estop_latched = 1;
    }

    if (g_estop_latched)
    {
        Motor_StopAll();
        Pump1_Off();
        Pump2_Off();
        Motor_Enable(0);

        g_fault_flag = 1;
        HAL_GPIO_WritePin(FAULT_LED_GPIO_Port, FAULT_LED_Pin, GPIO_PIN_SET);
    }

}

/* -------------------- 串口帮助与状态打印 -------------------- */

static void User_SendHelp(void)
{
    User_SendText(
        "\r\n=== STM32F407 Smart Agriculture Robot Cmd ===\r\n"
        "h : help\r\n"
        "g : send status\r\n"
        "0 : stop all motor\r\n"
        "1 : forward\r\n"
        "2 : backward\r\n"
        "7 : turn left\r\n"
        "8 : turn right\r\n"
        "\r\n"
        "L : spray/working servo action left\r\n"
        "R : spray/working servo action right\r\n"
        "Z : spray/working servo reset to init pose\r\n"
        "\r\n"
        "a/A : camera gimbal look left  (PB14 TIM12_CH1)\r\n"
        "d/D : camera gimbal look right (PB14 TIM12_CH1)\r\n"
        "c/C : camera gimbal center     (PB14 TIM12_CH1)\r\n"
        "w/W : camera gimbal pitch up   (PB15 TIM12_CH2)\r\n"
        "s/S : camera gimbal pitch down (PB15 TIM12_CH2)\r\n"
        "v/V : camera gimbal pitch default\r\n"
        "\r\n"
        "p : pump1 toggle\r\n"
        "q : pump2 toggle\r\n"
        "P : pump1 off\r\n"
        "Q : pump2 off\r\n"
        "x : both pumps off\r\n"
        "k : emergency stop latch\r\n"
        "u/U : clear estop latch\r\n"
        "m : motor enable\r\n"
        "n : motor disable\r\n"
        "=============================================\r\n");
}

static void User_SendStatus(void)
{
    snprintf(uart_tx_buf, sizeof(uart_tx_buf),
             "\r\nESTOP=%u FAULT=%u PUMP1=%u PUMP2=%u\r\n"
             "M1 pwm=%d d10=%d total=%ld\r\n"
             "M2 pwm=%d d10=%d total=%ld\r\n"
             "M3 pwm=%d d10=%d total=%ld\r\n"
             "M4 pwm=%d d10=%d total=%ld\r\n"
             "SERVO_BOTTOM_US=%u SERVO_MIDDLE_US=%u SERVO_TOP_US=%u\r\n"
             "GIMBAL_YAW_US=%u GIMBAL_PITCH_US=%u\r\n",
             g_estop_latched,
             g_fault_flag,
             g_pump1_on,
             g_pump2_on,
             g_motor[0].pwm_cmd, g_motor[0].enc_delta_10ms, (long)g_motor[0].enc_total,
             g_motor[1].pwm_cmd, g_motor[1].enc_delta_10ms, (long)g_motor[1].enc_total,
             g_motor[2].pwm_cmd, g_motor[2].enc_delta_10ms, (long)g_motor[2].enc_total,
             g_motor[3].pwm_cmd, g_motor[3].enc_delta_10ms, (long)g_motor[3].enc_total,
             g_servo_us[0], g_servo_us[1], g_servo_us[2],
             g_gimbal_yaw_us, g_gimbal_pitch_us);

    User_SendText(uart_tx_buf);
}

/* -------------------- 串口命令处理 -------------------- */

static void User_HandleUartByte(uint8_t ch)
{
    switch (ch)
    {
        case 'h':
            User_SendHelp();
            break;

        case 'g':
            User_SendStatus();
            break;

        case '0':
            Motor_StopAll();
            break;

        case '1':
            if (!g_estop_latched) Car_Forward();
            break;

        case '2':
            if (!g_estop_latched) Car_Backward();
            break;

        case '7':
            if (!g_estop_latched) Car_TurnLeft();
            break;

        case '8':
            if (!g_estop_latched) Car_TurnRight();
            break;

        case 'L':
        case 'l':
            Servo_ActionLeft();
            break;

        case 'R':
        case 'r':
            Servo_ActionRight();
            break;

        case 'Z':
        case 'z':
            Servo_Reset();
            break;

        /*
            新增摄像头云台命令：
            a/d/c 控制左右看，w/s/v 控制俯仰。
            注意：小车停止仍然是 '0'，所以这里 's' 用作摄像头低头。
        */
        case 'a':
        case 'A':
            Gimbal_LookLeft();
            break;

        case 'd':
        case 'D':
            Gimbal_LookRight();
            break;

        case 'c':
        case 'C':
            Gimbal_LookCenter();
            break;

        case 'w':
        case 'W':
            Gimbal_PitchUp();
            break;

        case 's':
        case 'S':
            Gimbal_PitchDown();
            break;

        case 'v':
        case 'V':
            Gimbal_PitchDefault();
            break;

        case 'p':
            if (g_pump1_on) Pump1_Off();
            else Pump1_On();
            break;

        case 'q':
            if (g_pump2_on) Pump2_Off();
            else Pump2_On();
            break;

        case 'P':
            Pump1_Off();
            User_SendText("\r\nPUMP1 OFF\r\n");
            break;

        case 'Q':
            Pump2_Off();
            User_SendText("\r\nPUMP2 OFF\r\n");
            break;

        case 'x':
            Pump1_Off();
            Pump2_Off();
            User_SendText("\r\nPUMP1 OFF, PUMP2 OFF\r\n");
            break;

        case 'k':
            g_estop_latched = 1;
            Safety_Check();
            User_SendText("\r\nESTOP LATCHED\r\n");
            break;

        case 'u':
        case 'U':
            if (HAL_GPIO_ReadPin(ESTOP_GPIO_Port, ESTOP_Pin) == GPIO_PIN_SET)
            {
                g_estop_latched = 0;
                g_fault_flag = 0;

                HAL_GPIO_WritePin(FAULT_LED_GPIO_Port, FAULT_LED_Pin, GPIO_PIN_RESET);

                Motor_Enable(1);
                User_SendText("\r\nESTOP CLEARED\r\n");
            }
            else
            {
                User_SendText("\r\nESTOP PIN STILL LOW\r\n");
            }
            break;

        case 'm':
            Motor_Enable(1);
            User_SendText("\r\nMOTOR ENABLE\r\n");
            break;

        case 'n':
            Motor_Enable(0);
            Motor_StopAll();
            User_SendText("\r\nMOTOR DISABLE\r\n");
            break;

        case '\r':
        case '\n':
            break;

        default:
            break;
    }
}

/* -------------------- APP 初始化与主循环 -------------------- */

static void App_Init(void)
{
    memset(g_motor, 0, sizeof(g_motor));

    HAL_GPIO_WritePin(RUN_LED_GPIO_Port, RUN_LED_Pin, GPIO_PIN_SET);
    User_Beep(60);

    User_SendHelp();
    User_SendStatus();
}

static void App_Loop(void)
{
    static uint32_t t10  = 0;
    static uint32_t t100 = 0;
    static uint32_t t500 = 0;

    uint32_t now = HAL_GetTick();

    /*
        串口命令在主循环里处理。
        不要在 HAL_UART_RxCpltCallback 中直接执行舵机动作，
        因为舵机动作里有 HAL_Delay。
    */
    if (g_uart_cmd_pending != 0)
    {
        uint8_t cmd = g_uart_cmd_pending;
        g_uart_cmd_pending = 0;

        User_HandleUartByte(cmd);
    }

    if ((now - t10) >= 10)
    {
        t10 = now;
        Encoder_Update10ms();
    }

    if ((now - t100) >= 100)
    {
        t100 = now;
        Safety_Check();
        HAL_GPIO_TogglePin(COMM_LED_GPIO_Port, COMM_LED_Pin);
    }

    if ((now - t500) >= 500)
    {
        t500 = now;
        HAL_GPIO_TogglePin(RUN_LED_GPIO_Port, RUN_LED_Pin);

#if DEBUG_PRINT_ENABLE
        User_SendStatus();
#endif
    }
}

/* USER CODE END 0 */

int main(void)
{

  /* MCU Configuration--------------------------------------------------------*/

  /* Reset of all peripherals, Initializes the Flash interface and the Systick. */
  HAL_Init();

  /* Configure the system clock */
  SystemClock_Config();

  /* Initialize all configured peripherals */
  MX_GPIO_Init();
  MX_ADC1_Init();
  MX_TIM1_Init();
  MX_TIM2_Init();
  MX_TIM3_Init();
  MX_TIM4_Init();
  MX_TIM8_Init();
  MX_TIM9_Init();
  MX_TIM10_Init();
  MX_TIM11_Init();
  MX_USART2_UART_Init();
  MX_I2C2_Init();
  MX_TIM12_Init();
  /* USER CODE BEGIN 2 */

  /*
      上电安全顺序：
      1. 先把两个水泵 GPIO 初始化为关闭状态
      2. 再执行整车安全状态初始化
      3. 再启动 PWM、编码器、PCA9685、串口接收等外设
  */
  Pump_GPIO_Init();
  User_SetSafeState();
  User_StartPeripherals();
  App_Init();

  /* USER CODE END 2 */

  /* Infinite loop */
  while (1)
  {

    /* USER CODE BEGIN 3 */
    App_Loop();
  }
  /* USER CODE END 3 */
}

void SystemClock_Config(void)
{
  RCC_OscInitTypeDef RCC_OscInitStruct = {0};
  RCC_ClkInitTypeDef RCC_ClkInitStruct = {0};

  /** Configure the main internal regulator output voltage
  */
  __HAL_RCC_PWR_CLK_ENABLE();
  __HAL_PWR_VOLTAGESCALING_CONFIG(PWR_REGULATOR_VOLTAGE_SCALE1);

  /** Initializes the RCC Oscillators according to the specified parameters
  * in the RCC_OscInitTypeDef structure.
  */
  RCC_OscInitStruct.OscillatorType = RCC_OSCILLATORTYPE_HSI;
  RCC_OscInitStruct.HSIState = RCC_HSI_ON;
  RCC_OscInitStruct.HSICalibrationValue = RCC_HSICALIBRATION_DEFAULT;
  RCC_OscInitStruct.PLL.PLLState = RCC_PLL_NONE;
  if (HAL_RCC_OscConfig(&RCC_OscInitStruct) != HAL_OK)
  {
    Error_Handler();
  }

  /** Initializes the CPU, AHB and APB buses clocks
  */
  RCC_ClkInitStruct.ClockType = RCC_CLOCKTYPE_HCLK|RCC_CLOCKTYPE_SYSCLK
                              |RCC_CLOCKTYPE_PCLK1|RCC_CLOCKTYPE_PCLK2;
  RCC_ClkInitStruct.SYSCLKSource = RCC_SYSCLKSOURCE_HSI;
  RCC_ClkInitStruct.AHBCLKDivider = RCC_SYSCLK_DIV1;
  RCC_ClkInitStruct.APB1CLKDivider = RCC_HCLK_DIV1;
  RCC_ClkInitStruct.APB2CLKDivider = RCC_HCLK_DIV1;

  if (HAL_RCC_ClockConfig(&RCC_ClkInitStruct, FLASH_LATENCY_0) != HAL_OK)
  {
    Error_Handler();
  }
}

/* USER CODE BEGIN 4 */

void HAL_UART_RxCpltCallback(UART_HandleTypeDef *huart)
{
    if (huart->Instance == USART2)
    {
        g_uart_cmd_pending = uart2_rx_byte;
        HAL_UART_Receive_IT(&huart2, &uart2_rx_byte, 1);
    }
}

/* USER CODE END 4 */

void Error_Handler(void)
{
  __disable_irq();
  while (1)
  {
  }
}
